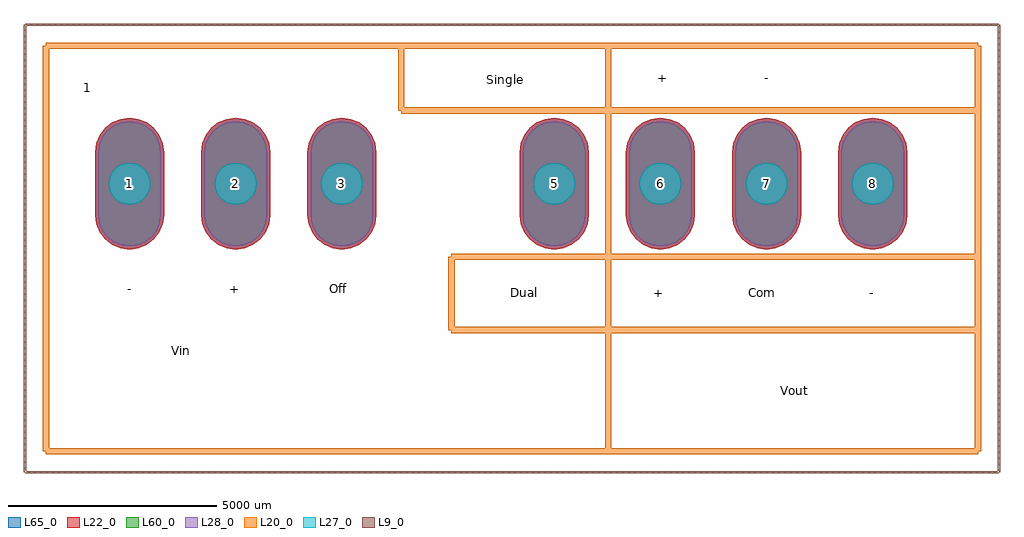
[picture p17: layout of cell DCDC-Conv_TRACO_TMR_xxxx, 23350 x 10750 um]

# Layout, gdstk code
import gdstk
lib = gdstk.Library(unit=1e-6, precision=1e-09)
def P(c, l, *ps):  # polygons
    for p in ps: c.add(gdstk.Polygon(p, *l))
L9_0 = (9, 0)
L20_0 = (20, 0)
L22_0 = (22, 0)
L27_0 = (27, 0)
L28_0 = (28, 0)
L60_0 = (60, 0)
L65_0 = (65, 0)

dcdc_conv_traco_tmr_xxxx = lib.new_cell('DCDC-Conv_TRACO_TMR_xxxx')
P(dcdc_conv_traco_tmr_xxxx, L22_0, [(17780,-1575),(17993.526,-1546.889),(18192.5,-1464.471),(18363.363,-1333.363),(18494.471,-1162.5),(18576.889,-963.526),(18605,-750),(18605,750),(18576.889,963.526),(18494.471,1162.5),(18363.363,1333.363),(18192.5,1464.471),(17993.526,1546.889),(17780,1575),(17566.474,1546.889),(17367.5,1464.471),(17196.637,1333.363),(17065.529,1162.5),(16983.111,963.526),(16955,750),(16955,-750),(16983.111,-963.526),(17065.529,-1162.5),(17196.637,-1333.363),(17367.5,-1464.471),(17566.474,-1546.889)],
  [(15240,-1575),(15453.526,-1546.889),(15652.5,-1464.471),(15823.363,-1333.363),(15954.471,-1162.5),(16036.889,-963.526),(16065,-750),(16065,750),(16036.889,963.526),(15954.471,1162.5),(15823.363,1333.363),(15652.5,1464.471),(15453.526,1546.889),(15240,1575),(15026.474,1546.889),(14827.5,1464.471),(14656.637,1333.363),(14525.529,1162.5),(14443.111,963.526),(14415,750),(14415,-750),(14443.111,-963.526),(14525.529,-1162.5),(14656.637,-1333.363),(14827.5,-1464.471),(15026.474,-1546.889)],
  [(5080,-1575),(5293.526,-1546.889),(5492.5,-1464.471),(5663.363,-1333.363),(5794.471,-1162.5),(5876.889,-963.526),(5905,-750),(5905,750),(5876.889,963.526),(5794.471,1162.5),(5663.363,1333.363),(5492.5,1464.471),(5293.526,1546.889),(5080,1575),(4866.474,1546.889),(4667.5,1464.471),(4496.637,1333.363),(4365.529,1162.5),(4283.111,963.526),(4255,750),(4255,-750),(4283.111,-963.526),(4365.529,-1162.5),(4496.637,-1333.363),(4667.5,-1464.471),(4866.474,-1546.889)],
  [(12700,-1575),(12913.526,-1546.889),(13112.5,-1464.471),(13283.363,-1333.363),(13414.471,-1162.5),(13496.889,-963.526),(13525,-750),(13525,750),(13496.889,963.526),(13414.471,1162.5),(13283.363,1333.363),(13112.5,1464.471),(12913.526,1546.889),(12700,1575),(12486.474,1546.889),(12287.5,1464.471),(12116.637,1333.363),(11985.529,1162.5),(11903.111,963.526),(11875,750),(11875,-750),(11903.111,-963.526),(11985.529,-1162.5),(12116.637,-1333.363),(12287.5,-1464.471),(12486.474,-1546.889)],
  [(10160,-1575),(10373.526,-1546.889),(10572.5,-1464.471),(10743.363,-1333.363),(10874.471,-1162.5),(10956.889,-963.526),(10985,-750),(10985,750),(10956.889,963.526),(10874.471,1162.5),(10743.363,1333.363),(10572.5,1464.471),(10373.526,1546.889),(10160,1575),(9946.474,1546.889),(9747.5,1464.471),(9576.637,1333.363),(9445.529,1162.5),(9363.111,963.526),(9335,750),(9335,-750),(9363.111,-963.526),(9445.529,-1162.5),(9576.637,-1333.363),(9747.5,-1464.471),(9946.474,-1546.889)],
  [(2540,-1575),(2753.526,-1546.889),(2952.5,-1464.471),(3123.363,-1333.363),(3254.471,-1162.5),(3336.889,-963.526),(3365,-750),(3365,750),(3336.889,963.526),(3254.471,1162.5),(3123.363,1333.363),(2952.5,1464.471),(2753.526,1546.889),(2540,1575),(2326.474,1546.889),(2127.5,1464.471),(1956.637,1333.363),(1825.529,1162.5),(1743.111,963.526),(1715,750),(1715,-750),(1743.111,-963.526),(1825.529,-1162.5),(1956.637,-1333.363),(2127.5,-1464.471),(2326.474,-1546.889)],
  [(0,-1575),(213.526,-1546.889),(412.5,-1464.471),(583.363,-1333.363),(714.471,-1162.5),(796.889,-963.526),(825,-750),(825,750),(796.889,963.526),(714.471,1162.5),(583.363,1333.363),(412.5,1464.471),(213.526,1546.889),(0,1575),(-213.526,1546.889),(-412.5,1464.471),(-583.363,1333.363),(-714.471,1162.5),(-796.889,963.526),(-825,750),(-825,-750),(-796.889,-963.526),(-714.471,-1162.5),(-583.363,-1333.363),(-412.5,-1464.471),(-213.526,-1546.889)])
P(dcdc_conv_traco_tmr_xxxx, L27_0, [(18279.999,0),(18270.392,97.545),(18241.939,191.341),(18195.734,277.785),(18133.553,353.553),(18057.785,415.734),(17971.341,461.939),(17877.545,490.392),(17780,499.999),(17682.455,490.392),(17588.659,461.939),(17502.215,415.734),(17426.447,353.553),(17364.266,277.785),(17318.061,191.341),(17289.608,97.545),(17280.001,0),(17289.608,-97.545),(17318.061,-191.341),(17364.266,-277.785),(17426.447,-353.553),(17502.215,-415.734),(17588.659,-461.939),(17682.455,-490.392),(17780,-499.999),(17877.545,-490.392),(17971.341,-461.939),(18057.785,-415.734),(18133.553,-353.553),(18195.734,-277.785),(18241.939,-191.341),(18270.392,-97.545)],
  [(15739.999,0),(15730.392,97.545),(15701.939,191.341),(15655.734,277.785),(15593.553,353.553),(15517.785,415.734),(15431.341,461.939),(15337.545,490.392),(15240,499.999),(15142.455,490.392),(15048.659,461.939),(14962.215,415.734),(14886.447,353.553),(14824.266,277.785),(14778.061,191.341),(14749.608,97.545),(14740.001,0),(14749.608,-97.545),(14778.061,-191.341),(14824.266,-277.785),(14886.447,-353.553),(14962.215,-415.734),(15048.659,-461.939),(15142.455,-490.392),(15240,-499.999),(15337.545,-490.392),(15431.341,-461.939),(15517.785,-415.734),(15593.553,-353.553),(15655.734,-277.785),(15701.939,-191.341),(15730.392,-97.545)],
  [(5579.999,0),(5570.392,97.545),(5541.939,191.341),(5495.734,277.785),(5433.553,353.553),(5357.785,415.734),(5271.341,461.939),(5177.545,490.392),(5080,499.999),(4982.455,490.392),(4888.659,461.939),(4802.215,415.734),(4726.447,353.553),(4664.266,277.785),(4618.061,191.341),(4589.608,97.545),(4580.001,0),(4589.608,-97.545),(4618.061,-191.341),(4664.266,-277.785),(4726.447,-353.553),(4802.215,-415.734),(4888.659,-461.939),(4982.455,-490.392),(5080,-499.999),(5177.545,-490.392),(5271.341,-461.939),(5357.785,-415.734),(5433.553,-353.553),(5495.734,-277.785),(5541.939,-191.341),(5570.392,-97.545)],
  [(13199.999,0),(13190.392,97.545),(13161.939,191.341),(13115.734,277.785),(13053.553,353.553),(12977.785,415.734),(12891.341,461.939),(12797.545,490.392),(12700,499.999),(12602.455,490.392),(12508.659,461.939),(12422.215,415.734),(12346.447,353.553),(12284.266,277.785),(12238.061,191.341),(12209.608,97.545),(12200.001,0),(12209.608,-97.545),(12238.061,-191.341),(12284.266,-277.785),(12346.447,-353.553),(12422.215,-415.734),(12508.659,-461.939),(12602.455,-490.392),(12700,-499.999),(12797.545,-490.392),(12891.341,-461.939),(12977.785,-415.734),(13053.553,-353.553),(13115.734,-277.785),(13161.939,-191.341),(13190.392,-97.545)],
  [(10659.999,0),(10650.392,97.545),(10621.939,191.341),(10575.734,277.785),(10513.553,353.553),(10437.785,415.734),(10351.341,461.939),(10257.545,490.392),(10160,499.999),(10062.455,490.392),(9968.659,461.939),(9882.215,415.734),(9806.447,353.553),(9744.266,277.785),(9698.061,191.341),(9669.608,97.545),(9660.001,0),(9669.608,-97.545),(9698.061,-191.341),(9744.266,-277.785),(9806.447,-353.553),(9882.215,-415.734),(9968.659,-461.939),(10062.455,-490.392),(10160,-499.999),(10257.545,-490.392),(10351.341,-461.939),(10437.785,-415.734),(10513.553,-353.553),(10575.734,-277.785),(10621.939,-191.341),(10650.392,-97.545)],
  [(3039.999,0),(3030.392,97.545),(3001.939,191.341),(2955.734,277.785),(2893.553,353.553),(2817.785,415.734),(2731.341,461.939),(2637.545,490.392),(2540,499.999),(2442.455,490.392),(2348.659,461.939),(2262.215,415.734),(2186.447,353.553),(2124.266,277.785),(2078.061,191.341),(2049.608,97.545),(2040.001,0),(2049.608,-97.545),(2078.061,-191.341),(2124.266,-277.785),(2186.447,-353.553),(2262.215,-415.734),(2348.659,-461.939),(2442.455,-490.392),(2540,-499.999),(2637.545,-490.392),(2731.341,-461.939),(2817.785,-415.734),(2893.553,-353.553),(2955.734,-277.785),(3001.939,-191.341),(3030.392,-97.545)],
  [(499.999,0),(490.392,97.545),(461.939,191.341),(415.734,277.785),(353.553,353.553),(277.785,415.734),(191.341,461.939),(97.545,490.392),(0,499.999),(-97.545,490.392),(-191.341,461.939),(-277.785,415.734),(-353.553,353.553),(-415.734,277.785),(-461.939,191.341),(-490.392,97.545),(-499.999,0),(-490.392,-97.545),(-461.939,-191.341),(-415.734,-277.785),(-353.553,-353.553),(-277.785,-415.734),(-191.341,-461.939),(-97.545,-490.392),(0,-499.999),(97.545,-490.392),(191.341,-461.939),(277.785,-415.734),(353.553,-353.553),(415.734,-277.785),(461.939,-191.341),(490.392,-97.545)])
P(dcdc_conv_traco_tmr_xxxx, L28_0, [(17780,-1500),(17974.114,-1474.444),(18155,-1399.519),(18310.33,-1280.33),(18429.519,-1125),(18504.444,-944.114),(18530,-750),(18530,750),(18504.444,944.114),(18429.519,1125),(18310.33,1280.33),(18155,1399.519),(17974.114,1474.444),(17780,1500),(17585.886,1474.444),(17405,1399.519),(17249.67,1280.33),(17130.481,1125),(17055.556,944.114),(17030,750),(17030,-750),(17055.556,-944.114),(17130.481,-1125),(17249.67,-1280.33),(17405,-1399.519),(17585.886,-1474.444)],
  [(15240,-1500),(15434.114,-1474.444),(15615,-1399.519),(15770.33,-1280.33),(15889.519,-1125),(15964.444,-944.114),(15990,-750),(15990,750),(15964.444,944.114),(15889.519,1125),(15770.33,1280.33),(15615,1399.519),(15434.114,1474.444),(15240,1500),(15045.886,1474.444),(14865,1399.519),(14709.67,1280.33),(14590.481,1125),(14515.556,944.114),(14490,750),(14490,-750),(14515.556,-944.114),(14590.481,-1125),(14709.67,-1280.33),(14865,-1399.519),(15045.886,-1474.444)],
  [(5080,-1500),(5274.114,-1474.444),(5455,-1399.519),(5610.33,-1280.33),(5729.519,-1125),(5804.444,-944.114),(5830,-750),(5830,750),(5804.444,944.114),(5729.519,1125),(5610.33,1280.33),(5455,1399.519),(5274.114,1474.444),(5080,1500),(4885.886,1474.444),(4705,1399.519),(4549.67,1280.33),(4430.481,1125),(4355.556,944.114),(4330,750),(4330,-750),(4355.556,-944.114),(4430.481,-1125),(4549.67,-1280.33),(4705,-1399.519),(4885.886,-1474.444)],
  [(12700,-1500),(12894.114,-1474.444),(13075,-1399.519),(13230.33,-1280.33),(13349.519,-1125),(13424.444,-944.114),(13450,-750),(13450,750),(13424.444,944.114),(13349.519,1125),(13230.33,1280.33),(13075,1399.519),(12894.114,1474.444),(12700,1500),(12505.886,1474.444),(12325,1399.519),(12169.67,1280.33),(12050.481,1125),(11975.556,944.114),(11950,750),(11950,-750),(11975.556,-944.114),(12050.481,-1125),(12169.67,-1280.33),(12325,-1399.519),(12505.886,-1474.444)],
  [(10160,-1500),(10354.114,-1474.444),(10535,-1399.519),(10690.33,-1280.33),(10809.519,-1125),(10884.444,-944.114),(10910,-750),(10910,750),(10884.444,944.114),(10809.519,1125),(10690.33,1280.33),(10535,1399.519),(10354.114,1474.444),(10160,1500),(9965.886,1474.444),(9785,1399.519),(9629.67,1280.33),(9510.481,1125),(9435.556,944.114),(9410,750),(9410,-750),(9435.556,-944.114),(9510.481,-1125),(9629.67,-1280.33),(9785,-1399.519),(9965.886,-1474.444)],
  [(2540,-1500),(2734.114,-1474.444),(2915,-1399.519),(3070.33,-1280.33),(3189.519,-1125),(3264.444,-944.114),(3290,-750),(3290,750),(3264.444,944.114),(3189.519,1125),(3070.33,1280.33),(2915,1399.519),(2734.114,1474.444),(2540,1500),(2345.886,1474.444),(2165,1399.519),(2009.67,1280.33),(1890.481,1125),(1815.556,944.114),(1790,750),(1790,-750),(1815.556,-944.114),(1890.481,-1125),(2009.67,-1280.33),(2165,-1399.519),(2345.886,-1474.444)],
  [(0,-1500),(194.114,-1474.444),(375,-1399.519),(530.33,-1280.33),(649.519,-1125),(724.444,-944.114),(750,-750),(750,750),(724.444,944.114),(649.519,1125),(530.33,1280.33),(375,1399.519),(194.114,1474.444),(0,1500),(-194.114,1474.444),(-375,1399.519),(-530.33,1280.33),(-649.519,1125),(-724.444,944.114),(-750,750),(-750,-750),(-724.444,-944.114),(-649.519,-1125),(-530.33,-1280.33),(-375,-1399.519),(-194.114,-1474.444)])
P(dcdc_conv_traco_tmr_xxxx, L60_0, [(17780,-1500),(17974.114,-1474.444),(18155,-1399.519),(18310.33,-1280.33),(18429.519,-1125),(18504.444,-944.114),(18530,-750),(18530,750),(18504.444,944.114),(18429.519,1125),(18310.33,1280.33),(18155,1399.519),(17974.114,1474.444),(17780,1500),(17585.886,1474.444),(17405,1399.519),(17249.67,1280.33),(17130.481,1125),(17055.556,944.114),(17030,750),(17030,-750),(17055.556,-944.114),(17130.481,-1125),(17249.67,-1280.33),(17405,-1399.519),(17585.886,-1474.444)],
  [(15240,-1500),(15434.114,-1474.444),(15615,-1399.519),(15770.33,-1280.33),(15889.519,-1125),(15964.444,-944.114),(15990,-750),(15990,750),(15964.444,944.114),(15889.519,1125),(15770.33,1280.33),(15615,1399.519),(15434.114,1474.444),(15240,1500),(15045.886,1474.444),(14865,1399.519),(14709.67,1280.33),(14590.481,1125),(14515.556,944.114),(14490,750),(14490,-750),(14515.556,-944.114),(14590.481,-1125),(14709.67,-1280.33),(14865,-1399.519),(15045.886,-1474.444)],
  [(5080,-1500),(5274.114,-1474.444),(5455,-1399.519),(5610.33,-1280.33),(5729.519,-1125),(5804.444,-944.114),(5830,-750),(5830,750),(5804.444,944.114),(5729.519,1125),(5610.33,1280.33),(5455,1399.519),(5274.114,1474.444),(5080,1500),(4885.886,1474.444),(4705,1399.519),(4549.67,1280.33),(4430.481,1125),(4355.556,944.114),(4330,750),(4330,-750),(4355.556,-944.114),(4430.481,-1125),(4549.67,-1280.33),(4705,-1399.519),(4885.886,-1474.444)],
  [(12700,-1500),(12894.114,-1474.444),(13075,-1399.519),(13230.33,-1280.33),(13349.519,-1125),(13424.444,-944.114),(13450,-750),(13450,750),(13424.444,944.114),(13349.519,1125),(13230.33,1280.33),(13075,1399.519),(12894.114,1474.444),(12700,1500),(12505.886,1474.444),(12325,1399.519),(12169.67,1280.33),(12050.481,1125),(11975.556,944.114),(11950,750),(11950,-750),(11975.556,-944.114),(12050.481,-1125),(12169.67,-1280.33),(12325,-1399.519),(12505.886,-1474.444)],
  [(10160,-1500),(10354.114,-1474.444),(10535,-1399.519),(10690.33,-1280.33),(10809.519,-1125),(10884.444,-944.114),(10910,-750),(10910,750),(10884.444,944.114),(10809.519,1125),(10690.33,1280.33),(10535,1399.519),(10354.114,1474.444),(10160,1500),(9965.886,1474.444),(9785,1399.519),(9629.67,1280.33),(9510.481,1125),(9435.556,944.114),(9410,750),(9410,-750),(9435.556,-944.114),(9510.481,-1125),(9629.67,-1280.33),(9785,-1399.519),(9965.886,-1474.444)],
  [(2540,-1500),(2734.114,-1474.444),(2915,-1399.519),(3070.33,-1280.33),(3189.519,-1125),(3264.444,-944.114),(3290,-750),(3290,750),(3264.444,944.114),(3189.519,1125),(3070.33,1280.33),(2915,1399.519),(2734.114,1474.444),(2540,1500),(2345.886,1474.444),(2165,1399.519),(2009.67,1280.33),(1890.481,1125),(1815.556,944.114),(1790,750),(1790,-750),(1815.556,-944.114),(1890.481,-1125),(2009.67,-1280.33),(2165,-1399.519),(2345.886,-1474.444)],
  [(0,-1500),(194.114,-1474.444),(375,-1399.519),(530.33,-1280.33),(649.519,-1125),(724.444,-944.114),(750,-750),(750,750),(724.444,944.114),(649.519,1125),(530.33,1280.33),(375,1399.519),(194.114,1474.444),(0,1500),(-194.114,1474.444),(-375,1399.519),(-530.33,1280.33),(-649.519,1125),(-724.444,944.114),(-750,750),(-750,-750),(-724.444,-944.114),(-649.519,-1125),(-530.33,-1280.33),(-375,-1399.519),(-194.114,-1474.444)])
P(dcdc_conv_traco_tmr_xxxx, L65_0, [(17780,-1575),(17993.526,-1546.889),(18192.5,-1464.471),(18363.363,-1333.363),(18494.471,-1162.5),(18576.889,-963.526),(18605,-750),(18605,750),(18576.889,963.526),(18494.471,1162.5),(18363.363,1333.363),(18192.5,1464.471),(17993.526,1546.889),(17780,1575),(17566.474,1546.889),(17367.5,1464.471),(17196.637,1333.363),(17065.529,1162.5),(16983.111,963.526),(16955,750),(16955,-750),(16983.111,-963.526),(17065.529,-1162.5),(17196.637,-1333.363),(17367.5,-1464.471),(17566.474,-1546.889)],
  [(15240,-1575),(15453.526,-1546.889),(15652.5,-1464.471),(15823.363,-1333.363),(15954.471,-1162.5),(16036.889,-963.526),(16065,-750),(16065,750),(16036.889,963.526),(15954.471,1162.5),(15823.363,1333.363),(15652.5,1464.471),(15453.526,1546.889),(15240,1575),(15026.474,1546.889),(14827.5,1464.471),(14656.637,1333.363),(14525.529,1162.5),(14443.111,963.526),(14415,750),(14415,-750),(14443.111,-963.526),(14525.529,-1162.5),(14656.637,-1333.363),(14827.5,-1464.471),(15026.474,-1546.889)],
  [(5080,-1575),(5293.526,-1546.889),(5492.5,-1464.471),(5663.363,-1333.363),(5794.471,-1162.5),(5876.889,-963.526),(5905,-750),(5905,750),(5876.889,963.526),(5794.471,1162.5),(5663.363,1333.363),(5492.5,1464.471),(5293.526,1546.889),(5080,1575),(4866.474,1546.889),(4667.5,1464.471),(4496.637,1333.363),(4365.529,1162.5),(4283.111,963.526),(4255,750),(4255,-750),(4283.111,-963.526),(4365.529,-1162.5),(4496.637,-1333.363),(4667.5,-1464.471),(4866.474,-1546.889)],
  [(12700,-1575),(12913.526,-1546.889),(13112.5,-1464.471),(13283.363,-1333.363),(13414.471,-1162.5),(13496.889,-963.526),(13525,-750),(13525,750),(13496.889,963.526),(13414.471,1162.5),(13283.363,1333.363),(13112.5,1464.471),(12913.526,1546.889),(12700,1575),(12486.474,1546.889),(12287.5,1464.471),(12116.637,1333.363),(11985.529,1162.5),(11903.111,963.526),(11875,750),(11875,-750),(11903.111,-963.526),(11985.529,-1162.5),(12116.637,-1333.363),(12287.5,-1464.471),(12486.474,-1546.889)],
  [(10160,-1575),(10373.526,-1546.889),(10572.5,-1464.471),(10743.363,-1333.363),(10874.471,-1162.5),(10956.889,-963.526),(10985,-750),(10985,750),(10956.889,963.526),(10874.471,1162.5),(10743.363,1333.363),(10572.5,1464.471),(10373.526,1546.889),(10160,1575),(9946.474,1546.889),(9747.5,1464.471),(9576.637,1333.363),(9445.529,1162.5),(9363.111,963.526),(9335,750),(9335,-750),(9363.111,-963.526),(9445.529,-1162.5),(9576.637,-1333.363),(9747.5,-1464.471),(9946.474,-1546.889)],
  [(2540,-1575),(2753.526,-1546.889),(2952.5,-1464.471),(3123.363,-1333.363),(3254.471,-1162.5),(3336.889,-963.526),(3365,-750),(3365,750),(3336.889,963.526),(3254.471,1162.5),(3123.363,1333.363),(2952.5,1464.471),(2753.526,1546.889),(2540,1575),(2326.474,1546.889),(2127.5,1464.471),(1956.637,1333.363),(1825.529,1162.5),(1743.111,963.526),(1715,750),(1715,-750),(1743.111,-963.526),(1825.529,-1162.5),(1956.637,-1333.363),(2127.5,-1464.471),(2326.474,-1546.889)],
  [(0,-1575),(213.526,-1546.889),(412.5,-1464.471),(583.363,-1333.363),(714.471,-1162.5),(796.889,-963.526),(825,-750),(825,750),(796.889,963.526),(714.471,1162.5),(583.363,1333.363),(412.5,1464.471),(213.526,1546.889),(0,1575),(-213.526,1546.889),(-412.5,1464.471),(-583.363,1333.363),(-714.471,1162.5),(-796.889,963.526),(-825,750),(-825,-750),(-796.889,-963.526),(-714.471,-1162.5),(-583.363,-1333.363),(-412.5,-1464.471),(-213.526,-1546.889)])
dcdc_conv_traco_tmr_xxxx.add(gdstk.FlexPath([(20800,3800),(20800,-6900)], 50, ends="flush", simple_path=True, layer=9, datatype=0))  # L9_0
dcdc_conv_traco_tmr_xxxx.add(gdstk.FlexPath([(-2500,-6900),(20800,-6900)], 50, ends="flush", simple_path=True, layer=9, datatype=0))  # L9_0
dcdc_conv_traco_tmr_xxxx.add(gdstk.FlexPath([(20300,-6400),(-2000,-6400)], 149.998, ends="flush", simple_path=True, layer=20, datatype=0))  # L20_0
dcdc_conv_traco_tmr_xxxx.add(gdstk.FlexPath([(20300,3300),(20300,-6400)], 149.998, ends="flush", simple_path=True, layer=20, datatype=0))  # L20_0
dcdc_conv_traco_tmr_xxxx.add(gdstk.FlexPath([(20300,3300),(-2000,3300)], 149.998, ends="flush", simple_path=True, layer=20, datatype=0))  # L20_0
dcdc_conv_traco_tmr_xxxx.add(gdstk.FlexPath([(-2000,3300),(-2000,-6400)], 149.998, ends="flush", simple_path=True, layer=20, datatype=0))  # L20_0
dcdc_conv_traco_tmr_xxxx.add(gdstk.FlexPath([(-2500,3800),(20800,3800)], 50, ends="flush", simple_path=True, layer=9, datatype=0))  # L9_0
dcdc_conv_traco_tmr_xxxx.add(gdstk.FlexPath([(-2500,3800),(-2500,-6900)], 50, ends="flush", simple_path=True, layer=9, datatype=0))  # L9_0
dcdc_conv_traco_tmr_xxxx.add(gdstk.FlexPath([(11450,3300),(11450,-6400)], 149.998, ends="flush", simple_path=True, layer=20, datatype=0))  # L20_0
dcdc_conv_traco_tmr_xxxx.add(gdstk.FlexPath([(6500,3300),(6500,1750)], 149.998, ends="flush", simple_path=True, layer=20, datatype=0))  # L20_0
dcdc_conv_traco_tmr_xxxx.add(gdstk.FlexPath([(6500,1750),(20300,1750)], 149.998, ends="flush", simple_path=True, layer=20, datatype=0))  # L20_0
dcdc_conv_traco_tmr_xxxx.add(gdstk.FlexPath([(7700,-1750),(20300,-1750)], 149.998, ends="flush", simple_path=True, layer=20, datatype=0))  # L20_0
dcdc_conv_traco_tmr_xxxx.add(gdstk.FlexPath([(7700,-1750),(7700,-3500)], 149.998, ends="flush", simple_path=True, layer=20, datatype=0))  # L20_0
dcdc_conv_traco_tmr_xxxx.add(gdstk.FlexPath([(7700,-3500),(20300,-3500)], 149.998, ends="flush", simple_path=True, layer=20, datatype=0))  # L20_0
dcdc_conv_traco_tmr_xxxx.add(gdstk.Label('8', (17780,0), layer=28, texttype=0))
dcdc_conv_traco_tmr_xxxx.add(gdstk.Label('7', (15240,0), layer=28, texttype=0))
dcdc_conv_traco_tmr_xxxx.add(gdstk.Label('3', (5080,0), layer=28, texttype=0))
dcdc_conv_traco_tmr_xxxx.add(gdstk.Label('6', (12700,0), layer=28, texttype=0))
dcdc_conv_traco_tmr_xxxx.add(gdstk.Label('5', (10160,0), layer=28, texttype=0))
dcdc_conv_traco_tmr_xxxx.add(gdstk.Label('2', (2540,0), layer=28, texttype=0))
dcdc_conv_traco_tmr_xxxx.add(gdstk.Label('1', (0,0), layer=28, texttype=0))
dcdc_conv_traco_tmr_xxxx.add(gdstk.Label('+', (12650,-2600), layer=9, texttype=0))
dcdc_conv_traco_tmr_xxxx.add(gdstk.Label('-', (17750,-2600), layer=9, texttype=0))
dcdc_conv_traco_tmr_xxxx.add(gdstk.Label('Com', (15150,-2600), layer=9, texttype=0))
dcdc_conv_traco_tmr_xxxx.add(gdstk.Label('Dual', (9450,-2600), layer=9, texttype=0))
dcdc_conv_traco_tmr_xxxx.add(gdstk.Label('Single', (9000,2500), layer=9, texttype=0))
dcdc_conv_traco_tmr_xxxx.add(gdstk.Label('-', (15250,2550), layer=9, texttype=0))
dcdc_conv_traco_tmr_xxxx.add(gdstk.Label('Vout', (15900,-4950), layer=9, texttype=0))
dcdc_conv_traco_tmr_xxxx.add(gdstk.Label('+', (12750,2550), layer=9, texttype=0))
dcdc_conv_traco_tmr_xxxx.add(gdstk.Label('Vin', (1250,-4000), layer=9, texttype=0))
dcdc_conv_traco_tmr_xxxx.add(gdstk.Label('Off', (5000,-2500), layer=9, texttype=0))
dcdc_conv_traco_tmr_xxxx.add(gdstk.Label('+', (2500,-2500), layer=9, texttype=0))
dcdc_conv_traco_tmr_xxxx.add(gdstk.Label('-', (0,-2500), layer=9, texttype=0))
dcdc_conv_traco_tmr_xxxx.add(gdstk.Label('1', (-1000,2300), layer=9, texttype=0))
dcdc_conv_traco_tmr_xxxx.add(gdstk.Label('type', (9500,-8000), layer=9, texttype=0))
dcdc_conv_traco_tmr_xxxx.add(gdstk.Label('devicename', (9500,4500), layer=9, texttype=0))

lib.write_gds('DCDC-Conv_TRACO_TMR_xxxx.gds')
